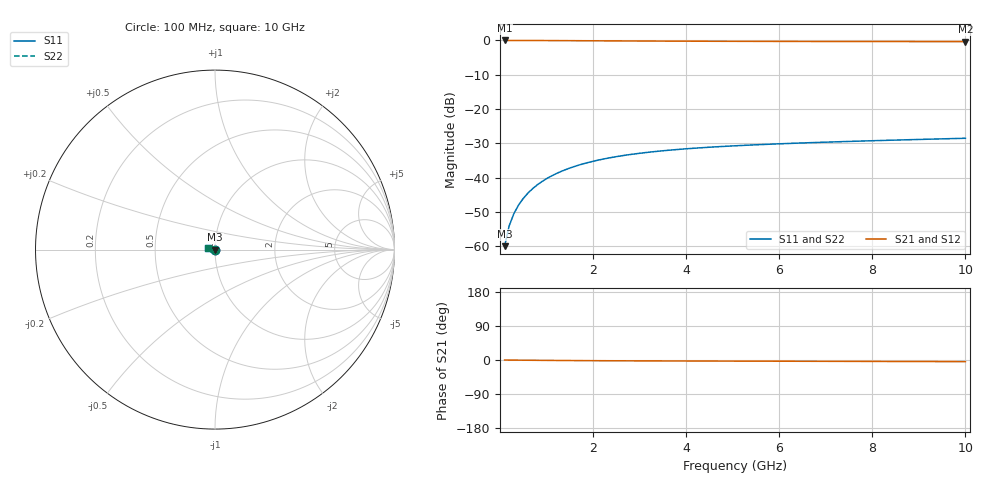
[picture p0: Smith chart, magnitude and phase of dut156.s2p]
! Touchstone file exported from HFSS 2024.1.0
!  File:  C:/UserFiles/LocalFiles/RDL_TSV_Batchsim/temp_TSV1_156_1778755393.aedt
!  Generated:  06:48:43 PM May 14, 2026
!  Design:  TSV1
!  Project:  temp_TSV1_156_1778755393
!  Setup:  Setup1
!  Solution:  Sweep
! Variables:
!  dtsv = 10.96um
!  hbump = 3um
!  htsv = 63.68um
!  lrdl = 252.1521522um
!  p = 40
!  p1 = 58.96um
!  t = 500um
!  trdl = 3um
!  wrdl = 24.89489489um
# GHz S MA R 50.000000
! Terminal data exported
! Port[1] = TSV22_T1
! Port[2] = TSV22_T2
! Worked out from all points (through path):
!   100 points, 100 MHz to 10 GHz, reference 50 ohm
!   highest |S21| = 0.00 dB at 100 MHz (marker M1); lowest = -0.3 dB at 10 GHz (marker M2)
!   lowest |S11| = -59.9 dB at 100 MHz (marker M3), VSWR 1.00, Z = 50 - j0.1 ohm
!   |S11| at or under -10 dB: start of sweep to end of sweep
!   |S22| runs from -59.9 to -28.5 dB; largest |S21 - S12| = 1.2e-14
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0.1  0.001007 -86.2  0.9999 -0.1  0.9999 -0.1  0.001007 -86.2
! Gamma 0 0 0 0
! Port Impedance 50 0 50 0
0.2  0.002006 -91.1  0.9997 -0.2  0.9997 -0.2  0.002006 -91.1
0.3  0.003004 -94.1  0.9995 -0.3  0.9995 -0.3  0.003004 -94.1
0.4  0.003998 -96.7  0.9993 -0.4  0.9993 -0.4  0.003998 -96.7
0.5  0.004984 -99.1  0.9989 -0.5  0.9989 -0.5  0.004984 -99.1
0.6  0.005957 -101.3  0.9985 -0.6  0.9985 -0.6  0.005957 -101.3
0.7  0.006914 -103.6  0.9981 -0.7  0.9981 -0.7  0.006914 -103.6
0.8  0.007855 -105.7  0.9975 -0.8  0.9975 -0.8  0.007855 -105.7
0.9  0.008776 -107.8  0.997 -0.9  0.997 -0.9  0.008776 -107.8
1.1  0.01055 -111.9  0.9957 -1.1  0.9957 -1.1  0.01055 -111.9
1.4  0.01305 -117.7  0.9936 -1.4  0.9936 -1.4  0.01305 -117.7
1.6  0.01458 -121.4  0.9921 -1.5  0.9921 -1.5  0.01458 -121.4
1.8  0.01602 -124.9  0.9905 -1.6  0.9905 -1.6  0.01602 -124.9
2.1  0.01798 -129.9  0.9881 -1.8  0.9881 -1.8  0.01798 -129.9
2.5  0.02028 -136.0  0.9851 -2.0  0.9851 -2.0  0.02028 -136.0
2.9  0.02225 -141.6  0.9822 -2.2  0.9822 -2.2  0.02225 -141.6
3.4  0.02433 -147.8  0.979 -2.4  0.979 -2.4  0.02433 -147.8
4.2  0.02698 -156.5  0.9747 -2.7  0.9747 -2.7  0.02698 -156.5
5.1  0.0293 -164.8  0.971 -3.0  0.971 -3.0  0.0293 -164.8
6.7  0.03246 -176.8  0.9665 -3.4  0.9665 -3.4  0.03246 -176.8
8.4  0.0352 173.1  0.9634 -3.9  0.9634 -3.9  0.0352 173.1
10  0.03757 165.1  0.9615 -4.4  0.9615 -4.4  0.03758 165.1
